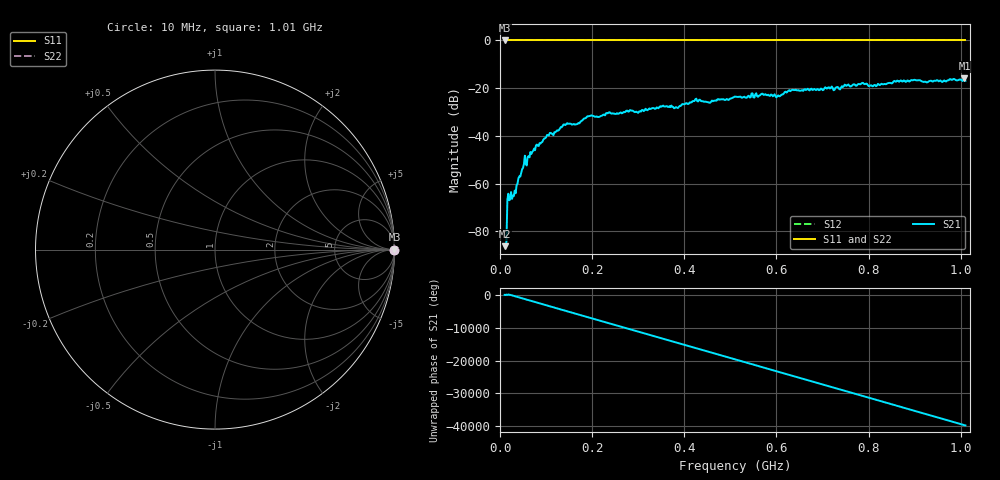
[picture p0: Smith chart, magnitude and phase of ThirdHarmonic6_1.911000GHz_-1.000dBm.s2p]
! 8/16/2025 11:03:23 PM
! C:\ANRITSUVNA\TEMP\TEMP.S2P
! CHANNEL.1
! TR.MEASUREMENT
! RAW.DATA
! RF.CORRECTION.OFF
! AVERAGING.OFF
! IF.BANDWIDTH: 5KHZ
! SWEEPTYPE:  FREQ.SWEEP(Linear)
! Reference Plane Port Info
! PORT:  PORT1  PORT2
! DISTANCE:  0  m  0  m
! TIME:  0  s  0  s
! PHASE.OFFSET:  0  deg.  0  deg.
! LOSS:  0  dB  0  dB
! REF.LOSS:  0  dB  0  dB
! REF.FREQ:  0  Hz  0  Hz
! Power Info
! POWER:  -20  dBm  -20  dBm
! EFF.POWER:  -20  dBm  -20  dBm
! SOURCE.ATTEN:  0  dB  0  dB
! TEST.ATTEN:  0  dB  0  dB
# GHZ S RI R 50.0
! FREQ.GHZ  S11RE  S11IM  S21RE  S21IM  S12RE  S12IM  S22RE  S22IM
!; PortSelection: Port_12
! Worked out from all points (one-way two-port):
!   501 points, 10 MHz to 1.01 GHz, reference 50 ohm
!   highest |S21| = -15.80 dB at 1.008 GHz (marker M1); lowest = -86.3 dB at 10 MHz (marker M2)
!   lowest |S11| = 0.0 dB at 10 MHz (marker M3)
!   |S11| at or under -10 dB: nowhere
!   |S22| runs from 0.0 to 0.0 dB; largest |S21 - S12| = 1.2
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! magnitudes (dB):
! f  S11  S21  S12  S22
! 10 MHz  0.0  -86.3  0.0  0.0
! 20 MHz  0.0  -67.0  0.0  0.0
! 30 MHz  0.0  -65.3  0.0  0.0
! 50 MHz  0.0  -53.4  0.0  0.0
! 64 MHz  0.0  -49.0  0.0  0.0
! 106 MHz  0.0  -39.8  0.0  0.0
! 142 MHz  0.0  -35.5  0.0  0.0
! 166 MHz  0.0  -35.2  0.0  0.0
! 178 MHz  0.0  -33.6  0.0  0.0
! 194 MHz  0.0  -31.7  0.0  0.0
! 344 MHz  0.0  -28.4  0.0  0.0
! 382 MHz  0.0  -28.0  0.0  0.0
! 422 MHz  0.0  -25.4  0.0  0.0
! 454 MHz  0.0  -26.1  0.0  0.0
! 510 MHz  0.0  -23.5  0.0  0.0
! 572 MHz  0.0  -22.8  0.0  0.0
! 604 MHz  0.0  -23.1  0.0  0.0
! 630 MHz  0.0  -21.3  0.0  0.0
! 678 MHz  0.0  -20.8  0.0  0.0
! 844 MHz  0.0  -17.8  0.0  0.0
! 1.008 GHz  0.0  -15.8  0.0  0.0
! 1.01 GHz  0.0  -16.9  0.0  0.0
